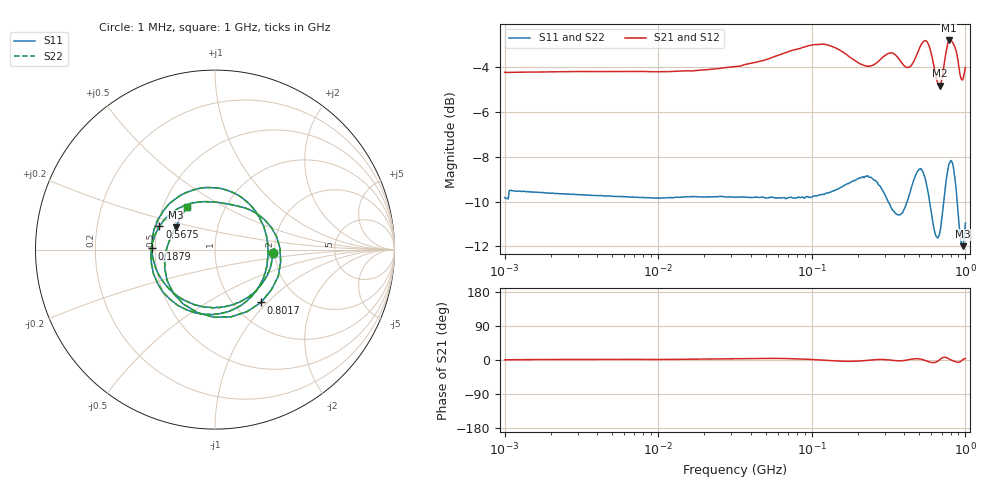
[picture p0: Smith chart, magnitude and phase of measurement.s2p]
! Touchstone file generated by xDriver.py
# Hz S RI R 50
! Freq ReS11 ImS11 ReS21 ImS21 ReS12 ImS12 ReS22 ImS22
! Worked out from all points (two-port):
!   501 points, 1 MHz to 1 GHz, reference 50 ohm
!   highest |S21| = -2.81 dB at 779.8 MHz (marker M1); lowest = -4.8 dB at 679.2 MHz (marker M2)
!   |S21| within 3 dB of the highest: start of sweep to end of sweep
!   lowest |S11| = -12.0 dB at 959.4 MHz (marker M3), VSWR 1.67, Z = 31.2 + j8.3 ohm
!   |S11| at or under -10 dB: 314.1 MHz to 418.4 MHz (104.4 MHz wide, 28.5 % of centre); 584.5 MHz to 723.3 MHz (138.8 MHz wide, 21.2 % of centre); 883.7 MHz to end of sweep
!   |S22| runs from -12.0 to -8.2 dB; largest |S21 - S12| = 0
!   S11 on the Smith chart (normalised r, x): 1 MHz: 1.95, -0.09; 187.9 MHz: 0.48, +0.01; 567.5 MHz: 0.51, +0.15; 801.7 MHz: 1.33, -0.92; 1 GHz: 0.66, +0.34
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1000000  0.3221 -0.0204  0.614 0.00228  0.614 0.00228  0.3221 -0.0204
3191538  0.3271 0.00154  0.6164 0.0167  0.6164 0.0167  0.3271 0.00154
1.004616e7  0.3188 -0.0462  0.6156 0.0158  0.6156 0.0158  0.3188 -0.0462
3.162278e7  0.2738 -0.1717  0.6316 0.0363  0.6316 0.0363  0.2738 -0.1717
1.009253e8  -0.0508 -0.3204  0.7062 0.0169  0.7062 0.0169  -0.0508 -0.3204
1.425608e8  -0.2478 -0.2257  0.6957 -0.029  0.6957 -0.029  -0.2478 -0.2257
1.879317e8  -0.3524 0.00658  0.6539 -0.0372  0.6539 -0.0372  -0.3524 0.00658
2.54683e8  -0.1185 0.3322  0.639 0.00862  0.639 0.00862  -0.1185 0.3322
3.176874e8  0.2108 0.2321  0.6769 0.00345  0.6769 0.00345  0.2108 0.2321
4.073803e8  0.2773 -0.1351  0.6315 -0.0077  0.6315 -0.0077  0.2773 -0.1351
4.74242e8  -0.0135 -0.362  0.6618 0.0405  0.6618 0.0405  -0.0135 -0.362
5.223962e8  -0.3195 -0.1881  0.7128 0.0189  0.7128 0.0189  -0.3195 -0.1881
5.675446e8  -0.3102 0.1291  0.7131 -0.0468  0.7131 -0.0468  -0.3102 0.1291
6.08135e8  -0.1325 0.2577  0.6576 -0.0785  0.6576 -0.0785  -0.1325 0.2577
6.792036e8  0.1003 0.2485  0.5732 0.00612  0.5732 0.00612  0.1003 0.2485
7.277798e8  0.2759 0.1667  0.6359 0.0805  0.6359 0.0805  0.2759 0.1667
7.798301e8  0.3528 -0.1481  0.7222 0.0393  0.7222 0.0393  0.3528 -0.1481
8.016781e8  0.2566 -0.2943  0.7226 0.0082  0.7226 0.0082  0.2566 -0.2943
8.35603e8  -0.00595 -0.3772  0.7098 -0.0322  0.7098 -0.0322  -0.00595 -0.3772
8.830799e8  -0.2672 -0.1711  0.6669 -0.0697  0.6669 -0.0697  -0.2672 -0.1711
9.594006e8  -0.2185 0.1244  0.5904 0.00566  0.5904 0.00566  -0.2185 0.1244
1e9  -0.1569 0.2357  0.6282 0.0412  0.6282 0.0412  -0.1569 0.2357
